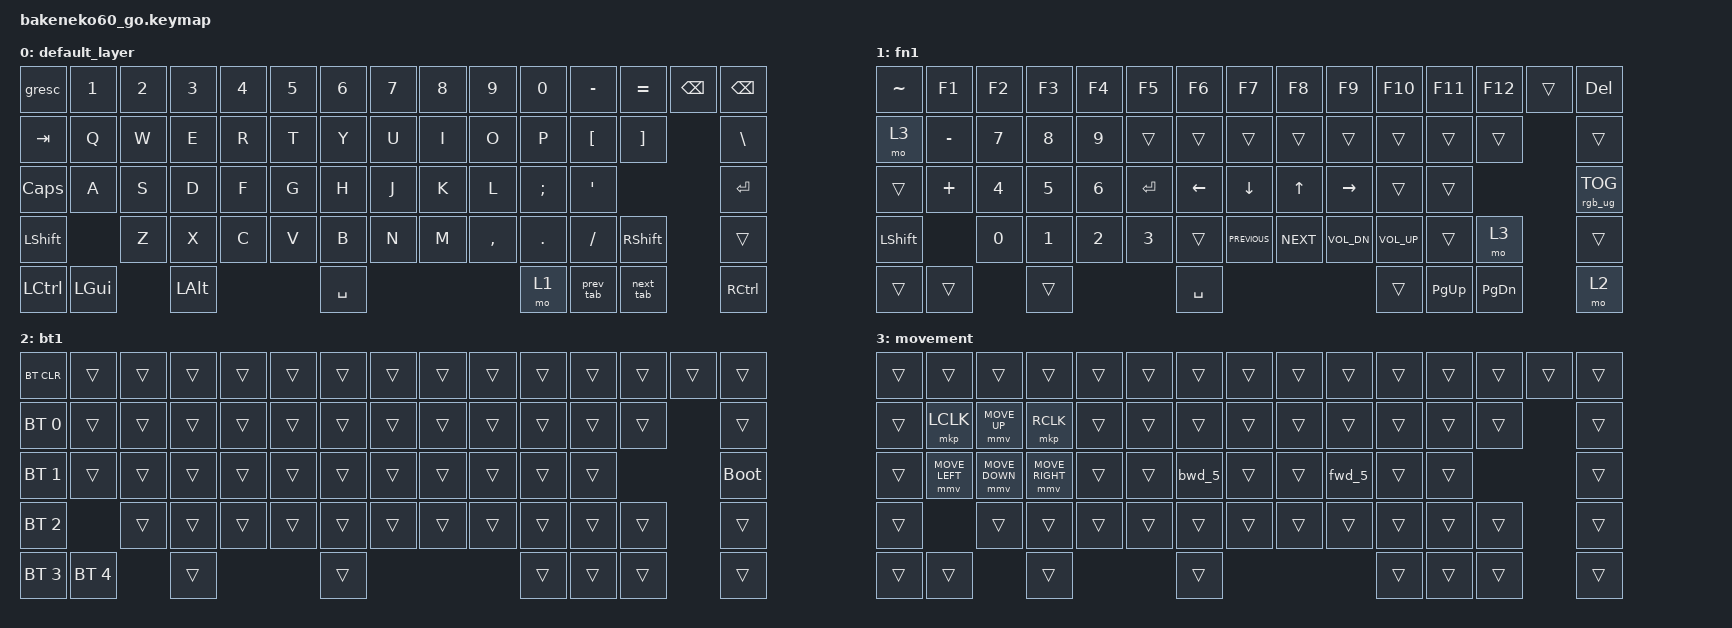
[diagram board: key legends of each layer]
/*
 * Copyright (c) 2023 Andrew Kannan
 *
 * SPDX-License-Identifier: MIT
 */

#include <behaviors.dtsi>
#include <dt-bindings/zmk/bt.h>
#include <dt-bindings/zmk/keys.h>
#include <dt-bindings/zmk/pointing.h>
#include <dt-bindings/zmk/rgb.h>

/ {
    macros {
        next_tab: next_tab {
            compatible = "zmk,behavior-macro";
            #binding-cells = <0>;
            bindings =
                <&macro_press>,
                <&kp LCTRL>,
                <&macro_tap>,
                <&kp TAB>,
                <&macro_release>,
                <&kp LCTRL &kp TAB>;

            label = "NEXT_TAB";
        };

        prev_tab: prev_tab {
            compatible = "zmk,behavior-macro";
            #binding-cells = <0>;
            bindings =
                <&macro_press>,
                <&kp LCTRL &kp LEFT_SHIFT>,
                <&macro_tap>,
                <&kp TAB>,
                <&macro_release>,
                <&kp LCTRL &kp LEFT_SHIFT &kp TAB>;

            label = "PREV_TAB";
        };

        fwd_5: fwd_5 {
            compatible = "zmk,behavior-macro";
            #binding-cells = <0>;
            bindings =
                <&macro_press>,
                <&kp LEFT_ALT>,
                <&macro_tap>,
                <&kp RIGHT &key_repeat &key_repeat &key_repeat &key_repeat>,
                <&macro_release>,
                <&kp LEFT_ALT>;

            label = "FWD_5";
        };

        bwd_5: bwd_5 {
            compatible = "zmk,behavior-macro";
            #binding-cells = <0>;
            bindings =
                <&macro_press>,
                <&kp LEFT_ALT>,
                <&macro_tap>,
                <&kp LEFT &key_repeat &key_repeat &key_repeat &key_repeat>,
                <&macro_release>,
                <&kp LEFT_ALT>;

            label = "BWD_5";
        };
    };

    keymap {
        compatible = "zmk,keymap";

        default_layer {
            // ------------------------------------------------------------------------------------------
            // | ESC |  1  |  2  |  3  |  4  |  5  |  6  |  7  |  8  |  9  |  0  |  -  |  =  | BKSP|BKSP|
            // | TAB  |  Q  |  W  |  E  |  R  |  T  |  Y  |  U  |  I  |  O  |  P  |  [  |  ]  |   "|"   |
            // | CAPS  |  A  |  S  |  D  |  F  |  G  |  H  |  J  |  K  |  L  |  ;  |  '  |     ENTER    |
            // |  SHIFT  |  Z  |  X  |  C  |  V  |  B  |  N  |  M  |  ,  |  .  |  /  |  SHIFT  | MO(1)  |
            // |  CTL  |  WIN  |  ALT  |            SPACE              |  ALT  |  WIN  |  MO(1) |  CTL  |
            // ------------------------------------------------------------------------------------------

            bindings = <
&gresc     &kp N1    &kp N2  &kp N3    &kp N4  &kp N5  &kp N6     &kp N7  &kp N8  &kp N9     &kp N0    &kp MINUS  &kp EQUAL  &kp BSPC  &kp BSPC
&kp TAB    &kp Q     &kp W   &kp E     &kp R   &kp T   &kp Y      &kp U   &kp I   &kp O      &kp P     &kp LBKT   &kp RBKT             &kp BSLH
&kp CLCK   &kp A     &kp S   &kp D     &kp F   &kp G   &kp H      &kp J   &kp K   &kp L      &kp SEMI  &kp SQT                         &kp RET
&kp LSHFT            &kp Z   &kp X     &kp C   &kp V   &kp B      &kp N   &kp M   &kp COMMA  &kp DOT   &kp FSLH   &kp RSHFT            &trans
&kp LCTRL  &kp LGUI          &kp LALT                  &kp SPACE                             &mo 1     &prev_tab  &next_tab            &kp RCTRL
            >;
        };

        fn1 {
            // ------------------------------------------------------------------------------------------------
            // |    `   | F1  | F2  | F3  | F4  | F5  | F6  | F7  | F8  | F9  | F10  | F11 | F12 |     | DEL  |
            // | EFCT REV|   |  UP |   | HUEUP | SATUP | BRIUP | SPDUP |      |  PGUP |    |     |    |       |
            // | EFCT FWD | LT |  DN  | RT | HUEDN | SATDN | BRIDN | SPDDN | HOME | PGDN | END  |  | BOOTLDR  |
            // |             |     |      |      |     |     |     |     |     |     |     |         |        |
            // |         |      |      |             TOG RGB                | PRT SCR |       |       |  MO(2)|
            // ------------------------------------------------------------------------------------------------

            bindings = <
&kp TILDE       &kp F1     &kp F2        &kp F3        &kp F4        &kp F5        &kp F6     &kp F7          &kp F8        &kp F9        &kp F10       &kp F11      &kp F12        &trans  &kp DEL
&mo 3           &kp MINUS  &kp NUMBER_7  &kp NUMBER_8  &kp NUMBER_9  &trans        &trans     &trans          &trans        &trans        &trans        &trans       &trans                 &trans
&trans          &kp PLUS   &kp NUMBER_4  &kp NUMBER_5  &kp NUMBER_6  &kp ENTER     &kp LEFT   &kp DOWN_ARROW  &kp UP_ARROW  &kp RIGHT     &trans        &trans                              &rgb_ug RGB_TOG
&kp LEFT_SHIFT             &kp NUMBER_0  &kp NUMBER_1  &kp NUMBER_2  &kp NUMBER_3  &trans     &kp C_PREVIOUS  &kp C_NEXT    &kp C_VOL_DN  &kp C_VOL_UP  &trans       &mo 3                  &trans
&trans          &trans                   &trans                                    &kp SPACE                                              &trans        &kp PAGE_UP  &kp PAGE_DOWN          &mo 2
            >;
        };

        bt1 {
            // ------------------------------------------------------------------------------------------------
            // | BT CLR |     |     |     |     |     |     |     |     |     |     |    |    |       |       |
            // |  BT 1   |   |     |   |       |       |       |       |   |     |    |     |     |           |
            // |   BT 2   |    |      |    |       |       |       |       |      |      |      |  |   Reset  |
            // |    BT 3     |     |      |      |     |     |     |     |     |     |     |         |        |
            // |   BT 4  |      |      |                                    |         |       |       |       |
            // ------------------------------------------------------------------------------------------------

            bindings = <
&bt BT_CLR    &trans        &trans  &trans  &trans  &trans  &trans  &trans  &trans  &trans  &trans  &trans  &trans  &trans  &trans
&bt BT_SEL 0  &trans        &trans  &trans  &trans  &trans  &trans  &trans  &trans  &trans  &trans  &trans  &trans          &trans
&bt BT_SEL 1  &trans        &trans  &trans  &trans  &trans  &trans  &trans  &trans  &trans  &trans  &trans                  &bootloader
&bt BT_SEL 2                &trans  &trans  &trans  &trans  &trans  &trans  &trans  &trans  &trans  &trans  &trans          &trans
&bt BT_SEL 3  &bt BT_SEL 4          &trans                  &trans                          &trans  &trans  &trans          &trans
            >;
        };

        movement {
            bindings = <
&trans  &trans          &trans          &trans           &trans  &trans  &trans  &trans  &trans  &trans  &trans  &trans  &trans  &trans  &trans
&trans  &mkp LCLK       &mmv MOVE_UP    &mkp RCLK        &trans  &trans  &trans  &trans  &trans  &trans  &trans  &trans  &trans          &trans
&trans  &mmv MOVE_LEFT  &mmv MOVE_DOWN  &mmv MOVE_RIGHT  &trans  &trans  &bwd_5  &trans  &trans  &fwd_5  &trans  &trans                  &trans
&trans                  &trans          &trans           &trans  &trans  &trans  &trans  &trans  &trans  &trans  &trans  &trans          &trans
&trans  &trans                          &trans                           &trans                          &trans  &trans  &trans          &trans
            >;
        };
    };

    combos {
        compatible = "zmk,combos";

        combo_bt {
            timeout-ms = <50>;
            key-positions = <61 62>;
            bindings = <&mo 2>;
        };
    };
};
